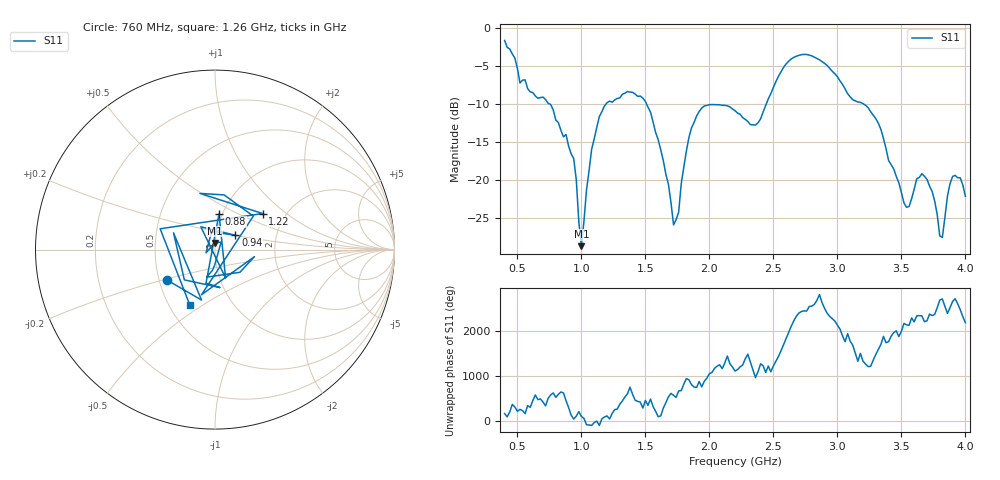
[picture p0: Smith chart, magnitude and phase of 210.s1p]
!Created with skrf (http://scikit-rf.org).
# Hz S RI R 50.0
!freq ReS11 ImS11
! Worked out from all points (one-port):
!   181 points, 400 MHz to 4 GHz, reference 50 ohm
!   lowest |S11| = -28.6 dB at 1 GHz (marker M1), VSWR 1.08, Z = 49.7 + j3.68 ohm
!   |S11| at or under -10 dB: 759.1 MHz to 1.19 GHz (430.6 MHz wide, 44.2 % of centre); 1.51 GHz to 2.443 GHz (932.9 MHz wide, 47.2 % of centre); 3.21 GHz to end of sweep
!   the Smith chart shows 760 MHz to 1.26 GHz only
!   S11 on the Smith chart (normalised r, x): 760 MHz: 0.55, -0.21; 880 MHz: 0.96, +0.40; 940 MHz: 1.24, +0.20; 1.22 GHz: 1.53, +0.69; 1.26 GHz: 0.63, -0.44
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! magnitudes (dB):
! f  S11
! 400 MHz  -1.6
! 520 MHz  -7.2
! 760 MHz  -10.0
! 860 MHz  -14.3
! 880 MHz  -14.0
! 940 MHz  -17.1
! 1 GHz  -28.6
! 1.08 GHz  -15.9
! 1.22 GHz  -9.6
! 1.26 GHz  -9.4
! 1.3 GHz  -9.1
! 1.5 GHz  -9.6
! 1.64 GHz  -17.4
! 1.72 GHz  -25.8
! 1.76 GHz  -24.1
! 1.82 GHz  -16.1
! 1.9 GHz  -11.5
! 2.2 GHz  -10.8
! 2.38 GHz  -12.4
! 2.66 GHz  -3.8
! 2.88 GHz  -4.4
! 3.1 GHz  -9.0
! 3.32 GHz  -12.5
! 3.56 GHz  -23.4
! 3.66 GHz  -19.1
! 3.82 GHz  -27.5
! 3.9 GHz  -19.5
! 4 GHz  -22.1
